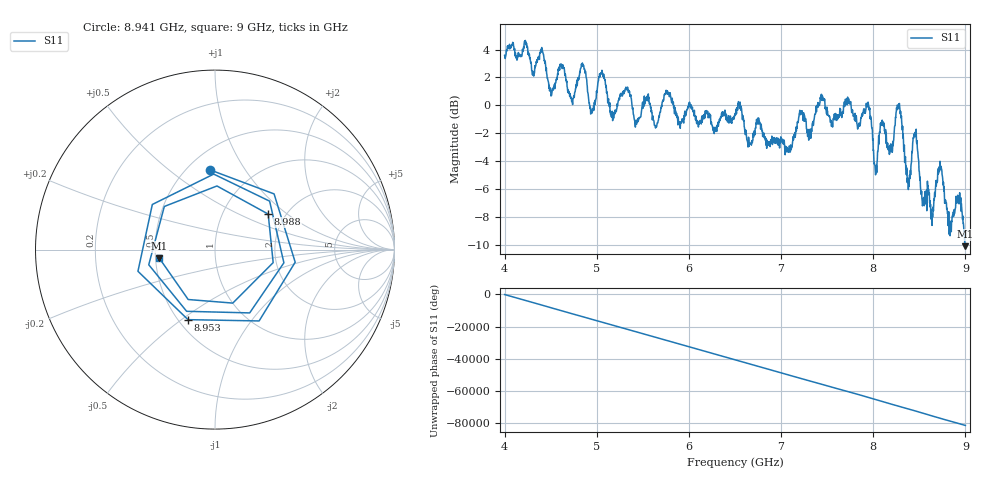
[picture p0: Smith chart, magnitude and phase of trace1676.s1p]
! Created with skrf 1.8.0 (http://scikit-rf.org).
# Hz S RI R 50.0
!freq ReS11 ImS11
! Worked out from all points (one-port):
!   1601 points, 4 GHz to 9 GHz, reference 50 ohm
!   lowest |S11| = -10.1 dB at 9 GHz (marker M1), VSWR 1.91, Z = 26.2 - j2.83 ohm
!   |S11| at or under -10 dB: 8.993628 GHz to end of sweep
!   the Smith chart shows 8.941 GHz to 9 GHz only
!   S11 on the Smith chart (normalised r, x): 8.941 GHz: 0.64, +0.71; 8.953 GHz: 0.56, -0.53; 8.988 GHz: 1.63, +0.74; 9 GHz: 0.52, -0.06
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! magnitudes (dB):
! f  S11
! 4 GHz  3.6
! 4.406 GHz  4.0
! 4.506 GHz  0.8
! 4.625 GHz  2.6
! 4.731 GHz  0.5
! 4.856 GHz  2.8
! 4.944 GHz  -0.6
! 5.05 GHz  2.3
! 5.169 GHz  -0.4
! 5.25 GHz  0.7
! 5.875 GHz  -0.7
! 6.5 GHz  -0.6
! 7.125 GHz  -2.6
! 7.447 GHz  0.7
! 7.75 GHz  0.3
! 7.95 GHz  0.0
! 8.025 GHz  -5.0
! 8.275 GHz  -0.2
! 8.375 GHz  -5.4
! 8.453 GHz  -1.9
! 8.541 GHz  -7.0
! 8.638 GHz  -8.6
! 8.725 GHz  -4.0
! 8.828 GHz  -8.6
! 8.941 GHz  -7.0
! 8.953 GHz  -7.6
! 8.988 GHz  -9.0
! 9 GHz  -10.1
